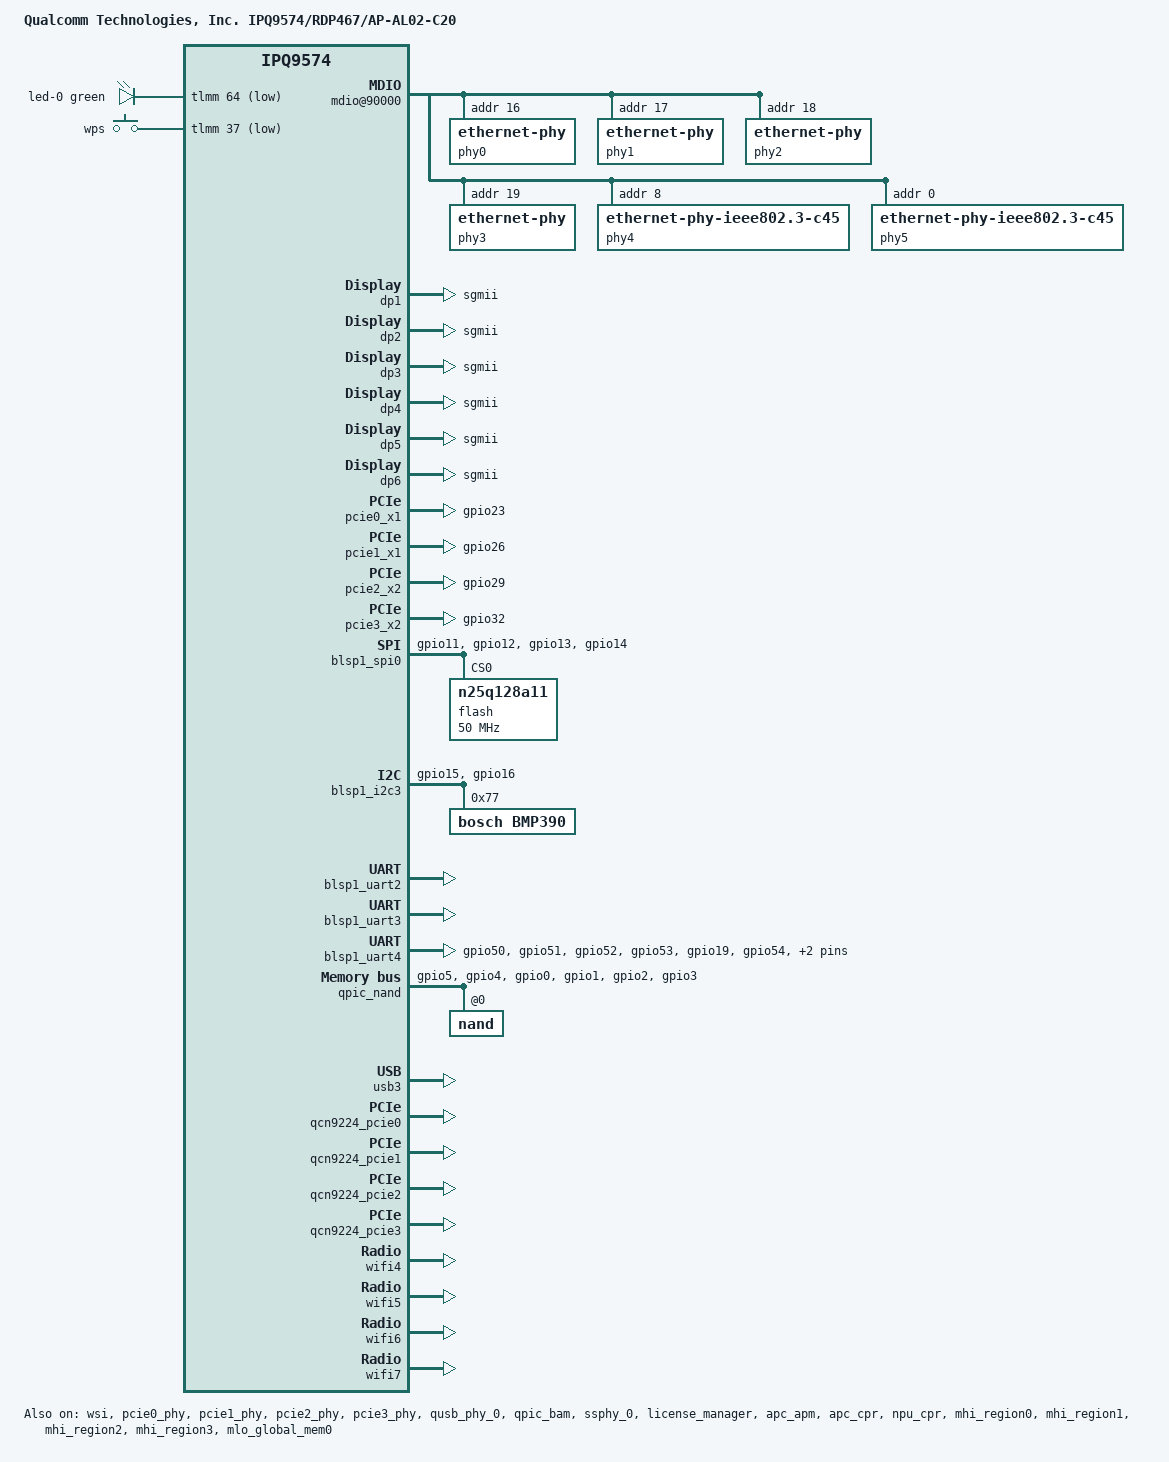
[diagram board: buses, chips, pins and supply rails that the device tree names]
// SPDX-License-Identifier: (GPL-2.0+ OR BSD-3-Clause)
/*
 * IPQ9574 RDP467 board device tree source
 *
 * Copyright (c) 2020-2021 The Linux Foundation. All rights reserved.
 * Copyright (c) 2021-2024 Qualcomm Innovation Center, Inc. All rights reserved.
 */

/dts-v1/;

#include <dt-bindings/gpio/gpio.h>
#include <dt-bindings/input/input.h>
#include <dt-bindings/leds/common.h>
#include "ipq9574-qcn9224-default-memory.dtsi"
#include "ipq9574.dtsi"

/ {
	model = "Qualcomm Technologies, Inc. IPQ9574/RDP467/AP-AL02-C20";
	compatible = "qcom,ipq9574-ap-al02-c20", "qcom,ipq9574-rdp467", "qcom,ipq9574";

	aliases {
		serial0 = &blsp1_uart2;
		serial1 = &blsp1_uart4;
		serial2 = &blsp1_uart3;
		ethernet0 = "/soc/dp1";
		ethernet1 = "/soc/dp2";
		ethernet2 = "/soc/dp3";
		ethernet3 = "/soc/dp4";
		ethernet4 = "/soc/dp5";
		ethernet5 = "/soc/dp6";
	};

	chosen {
		stdout-path = "serial0:115200n8";
	};

	soc@0 {
		mdio@90000 {
			pinctrl-0 = <&mdio_pins>;
			pinctrl-names = "default";
			/*gpio60 for malibu reset, gpio36 for both aqr reset reserved */
			phy-reset-gpio = <&tlmm 60 GPIO_ACTIVE_LOW>;
			status = "okay";

			phy0: ethernet-phy@0 {
				reg = <16>;
			};
			phy1: ethernet-phy@1 {
				reg = <17>;
			};
			phy2: ethernet-phy@2 {
				reg = <18>;
			};
			phy3: ethernet-phy@3 {
				reg = <19>;
			};
			phy4: ethernet-phy@4 {
				compatible ="ethernet-phy-ieee802.3-c45";
				reg = <8>;
			};
			phy5: ethernet-phy@5 {
				compatible ="ethernet-phy-ieee802.3-c45";
				reg = <0>;
			};
		};

		ess-instance {
			num_devices = <0x1>;
			ess-switch@3a000000 {
				switch_cpu_bmp = <0x1>;  /* cpu port bitmap */
				switch_lan_bmp = <0x3e>; /* lan port bitmap */
				switch_wan_bmp = <0x40>; /* wan port bitmap */
				switch_mac_mode = <0x0>; /* mac mode for uniphy instance0*/
				switch_mac_mode1 = <0xd>; /* mac mode for uniphy instance1*/
				switch_mac_mode2 = <0xd>; /* mac mode for uniphy instance2*/
				bm_tick_mode = <0>; /* bm tick mode */
				tm_tick_mode = <0>; /* tm tick mode */

				qcom,port_phyinfo {
					port@0 {
						port_id = <1>;
						phy_address = <16>;
					};
					port@1 {
						port_id = <2>;
						phy_address = <17>;
					};
					port@2 {
						port_id = <3>;
						phy_address = <18>;
					};
					port@3 {
						port_id = <4>;
						phy_address = <19>;
					};
					port@4 {
						port_id = <5>;
						phy_address = <8>;
						ethernet-phy-ieee802.3-c45;
					};
					port@5 {
						port_id = <6>;
						phy_address = <0>;
						ethernet-phy-ieee802.3-c45;
					};
				};
			};
		};

		dp1 {
			device_type = "network";
			compatible = "qcom,nss-dp";
			qcom,id = <1>;
			reg = <0x3a001000 0x200>;
			qcom,mactype = <0>;
			qcom,link-poll = <1>;
			local-mac-address = [000000000000];
			qcom,phy-mdio-addr = <16>;
			phy-mode = "sgmii";
		};

		dp2 {
			device_type = "network";
			compatible = "qcom,nss-dp";
			qcom,id = <2>;
			reg = <0x3a001200 0x200>;
			qcom,mactype = <0>;
			qcom,link-poll = <1>;
			local-mac-address = [000000000000];
			qcom,phy-mdio-addr = <17>;
			phy-mode = "sgmii";
		};

		dp3 {
			device_type = "network";
			compatible = "qcom,nss-dp";
			qcom,id = <3>;
			reg = <0x3a001400 0x200>;
			qcom,mactype = <0>;
			qcom,link-poll = <1>;
			local-mac-address = [000000000000];
			qcom,phy-mdio-addr = <18>;
			phy-mode = "sgmii";
		};

		dp4 {
			device_type = "network";
			compatible = "qcom,nss-dp";
			qcom,id = <4>;
			reg = <0x3a001600 0x200>;
			qcom,mactype = <0>;
			qcom,link-poll = <1>;
			local-mac-address = [000000000000];
			qcom,phy-mdio-addr = <19>;
			phy-mode = "sgmii";
		};

		dp5 {
			device_type = "network";
			compatible = "qcom,nss-dp";
			qcom,id = <5>;
			reg = <0x3a510000 0x4000>;
			qcom,mactype = <1>;
			qcom,link-poll = <1>;
			local-mac-address = [000000000000];
			qcom,phy-mdio-addr = <8>;
			phy-mode = "sgmii";
		};

		dp6 {
			device_type = "network";
			compatible = "qcom,nss-dp";
			qcom,id = <6>;
			reg = <0x3a514000 0x4000>;
			qcom,mactype = <1>;
			qcom,link-poll = <1>;
			local-mac-address = [000000000000];
			qcom,phy-mdio-addr = <0>;
			phy-mode = "sgmii";
		};

		/* EDMA host driver configuration for the board */
		edma@3ab00000 {
			qcom,txdesc-ring-start = <4>;		/* Tx desc ring start ID */
			qcom,txdesc-rings = <28>;		/* Total number of Tx desc rings to be provisioned */
			qcom,txcmpl-ring-start = <4>;		/* Tx complete ring start ID */
			qcom,txcmpl-rings = <28>;		/* Total number of Tx complete rings to be provisioned */
			qcom,rxfill-ring-start = <4>;		/* Rx fill ring start ID */
			qcom,rxfill-rings = <4>;		/* Total number of Rx fill rings to be provisioned */
			qcom,rxdesc-ring-start = <20>;		/* Rx desc ring start ID */
			qcom,rxdesc-rings = <4>;		/* Total number of Rx desc rings to be provisioned */
			qcom,rx-page-mode = <0>;		/* Rx fill ring page mode */
			qcom,tx-map-priority-level = <1>;	/* Tx priority level per port */
			qcom,rx-map-priority-level = <1>;	/* Rx priority level per core */
			qcom,ppeds-num = <4>;			/* Number of PPEDS nodes */
			/* PPE-DS node format: <Rx-fill Tx-cmpl Rx Tx Queue-base Queue-count> */
			qcom,ppeds-map = <1 1 1 1 32 8>,        /* PPEDS Node#0 ring and queue map */
					<2 2 2 2 40 8>,         /* PPEDS Node#1 ring and queue map */
					<3 3 3 3 48 8>,         /* PPEDS Node#2 ring and queue map */
					<0 0 0 0 56 8>;         /* PPEDS Node#3 ring and queue map */
			qcom,txdesc-map = <8 9 10 11>,		/* Port0 per-core Tx ring map */
					<12 13 14 15>,		/* Port1 per-core Tx ring map */
					<16 17 18 19>,		/* Port2 per-core Tx ring map */
					<20 21 22 23>,		/* Port3 per-core Tx ring map */
					<24 25 26 27>,		/* Port4 per-core Tx ring map */
					<28 29 30 31>,		/* Port5 per-core Tx ring map */
					<4 5 6 7>;		/* Used only for packets from VP */
			qcom,txdesc-fc-grp-map = <1 2 3 4 5 6>;	/* Per GMAC flow control group map */
			qcom,rxfill-map = <4 5 6 7>;		/* Per-core Rx fill ring map */
			qcom,rxdesc-map = <20 21 22 23>;	/* Per-core Rx desc ring map */
			qcom,rx-queue-start = <0>;		/* Rx queue start */
			qcom,rx-ring-queue-map = <0 8 16 24>,	/* Priority 0 queues per-core Rx ring map */
					<1 9 17 25>,		/* Priority 1 queues per-core Rx ring map */
					<2 10 18 26>,		/* Priority 2 queues per-core Rx ring map */
					<3 11 19 27>,		/* Priority 3 queues per-core Rx ring map */
					<4 12 20 28>,		/* Priority 4 queues per-core Rx ring map */
					<5 13 21 29>,		/* Priority 5 queues per-core Rx ring map */
					<6 14 22 30>,		/* Priority 6 queues per-core Rx ring map */
					<7 15 23 31>;		/* Priority 7 queues per-core Rx ring map */
			qcom,vp-id = <8>;			/* Virtual port dummy MAC Id */
			qcom,txdesc_point_offload_ring = <0>;		/* Txdesc point offlaod ring */
			qcom,txcmpl_point_offload_ring = <0>;		/* Txcmpl point offlaod ring */
			qcom,rxfill_point_offload_ring = <0>;		/* Rxfill point offlaod ring */
			qcom,rxdesc_point_offload_ring = <0>;		/* Rxdesc point offlaod ring */
			interrupts = <0 367 4>,			/* Tx complete ring id #4 IRQ info */
				   <0 368 4>,			/* Tx complete ring id #5 IRQ info */
				   <0 369 4>,			/* Tx complete ring id #6 IRQ info */
				   <0 370 4>,			/* Tx complete ring id #7 IRQ info */
				   <0 371 4>,			/* Tx complete ring id #8 IRQ info */
				   <0 372 4>,			/* Tx complete ring id #9 IRQ info */
				   <0 373 4>,			/* Tx complete ring id #10 IRQ info */
				   <0 374 4>,			/* Tx complete ring id #11 IRQ info */
				   <0 375 4>,			/* Tx complete ring id #12 IRQ info */
				   <0 376 4>,			/* Tx complete ring id #13 IRQ info */
				   <0 377 4>,			/* Tx complete ring id #14 IRQ info */
				   <0 378 4>,			/* Tx complete ring id #15 IRQ info */
				   <0 379 4>,			/* Tx complete ring id #16 IRQ info */
				   <0 380 4>,			/* Tx complete ring id #17 IRQ info */
				   <0 381 4>,			/* Tx complete ring id #18 IRQ info */
				   <0 382 4>,			/* Tx complete ring id #19 IRQ info */
				   <0 383 4>,			/* Tx complete ring id #20 IRQ info */
				   <0 384 4>,			/* Tx complete ring id #21 IRQ info */
				   <0 509 4>,			/* Tx complete ring id #22 IRQ info */
				   <0 508 4>,			/* Tx complete ring id #23 IRQ info */
				   <0 507 4>,			/* Tx complete ring id #24 IRQ info */
				   <0 506 4>,			/* Tx complete ring id #25 IRQ info */
				   <0 505 4>,			/* Tx complete ring id #26 IRQ info */
				   <0 504 4>,			/* Tx complete ring id #27 IRQ info */
				   <0 503 4>,			/* Tx complete ring id #28 IRQ info */
				   <0 502 4>,			/* Tx complete ring id #29 IRQ info */
				   <0 501 4>,			/* Tx complete ring id #30 IRQ info */
				   <0 500 4>,			/* Tx complete ring id #31 IRQ info */
				   <0 351 4>,			/* Rx desc ring id #20 IRQ info */
				   <0 352 4>,			/* Rx desc ring id #21 IRQ info */
				   <0 353 4>,			/* Rx desc ring id #22 IRQ info */
				   <0 354 4>,			/* Rx desc ring id #23 IRQ info */
				   <0 499 4>,			/* Misc error IRQ info */
				   <0 364 4>,			/* PPEDS Node #0(TxComp ring id #1) TxComplete IRQ info */
				   <0 332 4>,			/* PPEDS Node #0(Rx Desc ring id #1) Rx Desc IRQ info */
				   <0 356 4>,			/* PPEDS Node #0(RxFill Desc ring id #1) Rx Fill IRQ info */
				   <0 365 4>,			/* PPEDS Node #1(TxComp ring id #2) TxComplete IRQ info */
				   <0 333 4>,			/* PPEDS Node #1(Rx Desc ring id #2) Rx Desc IRQ info */
				   <0 357 4>,			/* PPEDS Node #1(RxFill Desc ring id #2) Rx Fill IRQ info */
				   <0 366 4>,			/* PPEDS Node #2(TxComp ring id #3) TxComplete IRQ info */
				   <0 334 4>,			/* PPEDS Node #2(Rx Desc ring id #3) Rx Desc IRQ info */
				   <0 358 4>,			/* PPEDS Node #2(RxFill Desc ring id #3) Rx Fill IRQ info */
				   <0 363 4>,			/* PPEDS Node #3(TxComp ring id #0) TxComplete IRQ info */
				   <0 331 4>,			/* PPEDS Node #3(Rx Desc ring id #0) Rx Desc IRQ info */
				   <0 355 4>;			/* PPEDS Node #3(RxFill Desc ring id #0) Rx Fill IRQ info */
		};

		leds {
			compatible = "gpio-leds";
			pinctrl-0 = <&gpio_leds_default>;
			pinctrl-names = "default";

			led-0 {
				color = <LED_COLOR_ID_GREEN>;
				function = LED_FUNCTION_WLAN;
				gpios = <&tlmm 64 GPIO_ACTIVE_LOW>;
				linux,default-trigger = "phy0tx";
				default-state = "off";
			};
		};

		gpio_keys {
			compatible = "gpio-keys";
			pinctrl-0 = <&button_pins>;
			pinctrl-names = "default";
			status = "okay";

			button@1 {
				label = "wps";
				linux,code = <KEY_WPS_BUTTON>;
				gpios = <&tlmm 37 GPIO_ACTIVE_LOW>;
				linux,input-type = <1>;
				debounce-interval = <60>;
			};
		};
	};
};

&wsi {
        id = <0>;
        num_chip = <4>;
	status = "okay";
        chip_info = <0 2 1 3>,
		    <1 2 0 2>,
		    <2 2 3 1>,
		    <3 2 2 0>;
};

&pcie0_x1 {
	pinctrl-0 = <&pci0_pin>;
	pinctrl-names = "default";
	perst-gpio = <&tlmm 23 GPIO_ACTIVE_LOW>;
	status = "okay";

	pcie0_rp {
		reg = <0 0 0 0 0>;

		wifi@0 {
			reg = <0 0 0 0 0>;
			boot-args = <0x2 0x4 0x34 0x3 0x0 0x0     /* MX Rail, GPIO52, Drive strength 0x3 */
					0x4 0x4 0x18 0x3 0x0 0x0  /* RFA1p2 Rail, GPIO24, Drive strength 0x3 */
					0x0 0x4 0x0 0x0 0x0 0x0>; /* End of arguments */
			memory-region = <&qcn9224_pcie0>, <&mhi_region0>;
			qcom,wsi = <&wsi>;
			qcom,wsi_index = <0>;
			qcom,board_id = <0x01>;
			qcom,pta-num = <0>;
			qcom,coex-mode = <0x2>;
			qcom,bt-active-time = <0x18>;
			qcom,bt-priority-time = <0x12>;
			qcom,coex-algo = <0x2>;
			qcom,pta-priority = <0x80800505>;
			qcom,msi = <0x10>;
			status = "okay";
		};
	};
};

&pcie0_phy {
	status = "okay";
};

&pcie1_x1 {
	pinctrl-0 = <&pci1_pin>;
	pinctrl-names = "default";
	perst-gpio = <&tlmm 26 GPIO_ACTIVE_LOW>;
	status = "okay";

	pcie1_rp {
		reg = <0 0 0 0 0>;

		wifi@1 {
			reg = <0 0 0 0 0>;
			boot-args = <0x2 0x4 0x34 0x3 0x0 0x0     /* MX Rail, GPIO52, Drive strength 0x3 */
					0x4 0x4 0x18 0x3 0x0 0x0  /* RFA1p2 Rail, GPIO24, Drive strength 0x3 */
					0x0 0x4 0x0 0x0 0x0 0x0>; /* End of arguments */
			memory-region = <&qcn9224_pcie1>, <&mhi_region1>;
			qcom,board_id = <0x11>;
			qcom,wsi = <&wsi>;
			qcom,wsi_index = <3>;
			qcom,msi = <0x10>;
		};
	};
};

&pcie1_phy {
	status = "okay";
};

&pcie2_x2 {
	pinctrl-0 = <&pci2_pin>;
	pinctrl-names = "default";
	perst-gpio = <&tlmm 29 GPIO_ACTIVE_LOW>;
	status = "okay";

	pcie2_rp {
		reg = <0 0 0 0 0>;

		wifi@2 {
			reg = <0 0 0 0 0>;
			boot-args = <0x2 0x4 0x34 0x3 0x0 0x0     /* MX Rail, GPIO52, Drive strength 0x3 */
					0x4 0x4 0x18 0x3 0x0 0x0  /* RFA1p2 Rail, GPIO24, Drive strength 0x3 */
					0x0 0x4 0x0 0x0 0x0 0x0>; /* End of arguments */
			memory-region = <&qcn9224_pcie2>, <&mhi_region2>;
			qcom,board_id = <0x04>;
			qcom,wsi = <&wsi>;
			qcom,wsi_index = <2>;
		};
	};
};

&pcie2_phy {
	status = "okay";
};

&pcie3_x2 {
	pinctrl-0 = <&pci3_pin>;
	pinctrl-names = "default";
	perst-gpio = <&tlmm 32 GPIO_ACTIVE_LOW>;
	status = "okay";

	pcie3_rp {
		reg = <0 0 0 0 0>;

		wifi@3 {
			reg = <0 0 0 0 0>;
			boot-args = <0x2 0x4 0x34 0x3 0x0 0x0     /* MX Rail, GPIO52, Drive strength 0x3 */
					0x4 0x4 0x18 0x3 0x0 0x0  /* RFA1p2 Rail, GPIO24, Drive strength 0x3 */
					0x0 0x4 0x0 0x0 0x0 0x0>; /* End of arguments */
			memory-region = <&qcn9224_pcie3>, <&mhi_region3>;
			qcom,board_id = <0x12>;
			qcom,wsi = <&wsi>;
			qcom,wsi_index = <1>;
		};
	};
};

&pcie3_phy {
	status = "okay";
};

&qusb_phy_0 {
	status = "okay";
};

&blsp1_spi0 { /* BLSP1 QUP0 */
	pinctrl-0 = <&spi_0_pins>;
	pinctrl-names = "default";
	cs-select = <0>;
	status = "okay";

	flash@0 {
		compatible = "n25q128a11", "micron,n25q128a11", "jedec,spi-nor";
		reg = <0>;
		#address-cells = <1>;
		#size-cells = <1>;
		spi-max-frequency = <50000000>;
	};
};

&blsp1_i2c3 {
	pinctrl-0 = <&i2c_3_pins>;
	pinctrl-names = "default";
	status = "okay";

	bmp390@77 {
		compatible = "bosch,bmp390";
		reg = <0x77>;
	};
};

&blsp1_uart2 {
	pinctrl-0 = <&uart2_pins>;
	pinctrl-names = "default";
	status = "okay";
};

&blsp1_uart3 {
	pinctrl-0 = <&gps_pins>;
	pinctrl-names = "default";
	status = "okay";
};

&blsp1_uart4 {
	pinctrl-0 = <&QCC710_pins &pta_QCC710>;
	pinctrl-names = "default";
	status = "okay";
};

&qpic_bam {
	status = "okay";
};

&qpic_nand {
	pinctrl-0 = <&qspi_nand_pins>;
	pinctrl-names = "default";
	qcom,io_macro_max_clk = <320000000>;
	qcom,io_macro_clk_rates = <24000000 100000000 200000000 \
				   320000000>;
	status = "okay";

	nand@0 {
		reg = <0>;
		#address-cells = <1>;
		#size-cells = <1>;
		nand-ecc-strength = <4>;
		nand-ecc-step-size = <512>;
		nand-bus-width = <8>;
	};
};

&sleep_clk {
	clock-frequency = <32000>;
};

&ssphy_0 {
	status = "okay";
};

&rpm_requests {
	regulators {
		compatible = "qcom,rpm-mp5496-regulators";

		ipq9574_s1: s1 {
		 /*
		 * During kernel bootup, the SoC runs at 800MHz with 875mV set by the bootloaders.
		 * During regulator registration, kernel not knowing the initial voltage,
		 * considers it as zero and brings up the regulators with minimum supported voltage.
		 * Updating the regulator-min-microvolt with SVS voltage of 725000uV so that
		 * the regulators are brought up with 725000uV which is sufficient for all the
		 * corner parts to operate at 800MHz
		 */
			regulator-min-microvolt = <587500>;
			regulator-max-microvolt = <1075000>;
		};
		ipq9574_s2: s2 {
			regulator-min-microvolt = <700000>;
			regulator-max-microvolt = <1000000>;
		};
	};
};

&tlmm {
	pci0_pin: pci0-default-state {
		pins = "gpio23";
		function = "gpio";
		drive-strength = <8>;
		bias-pull-up;
		output-low;
	};

	pci1_pin: pci1-default-state {
		pins = "gpio26";
		function = "gpio";
		drive-strength = <8>;
		bias-pull-down;
		output-low;
	};

	pci2_pin: pci2-default-state {
		pins = "gpio29";
		function = "gpio";
		drive-strength = <8>;
		bias-pull-down;
		output-low;
	};

	pci3_pin: pci3-default-state {
		pins = "gpio32";
		function = "gpio";
		drive-strength = <8>;
		bias-pull-up;
		output-low;
	};

	i2c_3_pins: i2c-3-pins {
		pins = "gpio15", "gpio16";
		function = "blsp3_i2c";
		drive-strength = <8>;
		bias-disable;
	};

	gpio_leds_default: gpio-leds-default-state {
		pins = "gpio64";
		function = "gpio";
		drive-strength = <8>;
		bias-pull-up;
	};

	button_pins: button-state {
		pins = "gpio37";
		function = "gpio";
		drive-strength = <8>;
		bias-pull-up;
	};

	QCC710_pins: QCC710_pins {
		uart4_pins: uart4-pins {
			pins = "gpio50", "gpio51", "gpio52", "gpio53";
			function = "blsp4_uart";
			drive-strength = <8>;
			bias-disable;
		};
		QCC710_reset {
			pins = "gpio19";
			function = "gpio";
			drive-strength = <8>;
			bias-pull-down;
		};
	};

	pta_QCC710: pta_QCC710 {
		pins = "gpio54", "gpio55", "gpio56";
		function = "pta";
		drive-strength = <8>;
		bias-disable;
	};

	spi_0_pins: spi-0-pins {
		pins = "gpio11", "gpio12", "gpio13", "gpio14";
		function = "blsp0_spi";
		drive-strength = <8>;
		bias-disable;
	};

	qspi_nand_pins: qspi_nand_pins {
		qspi_clock {
			pins = "gpio5";
			function = "qspi_clk";
			drive-strength = <8>;
			bias-disable;
		};

		qspi_cs {
			pins = "gpio4";
			function = "qspi_cs";
			drive-strength = <8>;
			bias-disable;
		};

		qspi_data {
			pins = "gpio0", "gpio1", "gpio2", "gpio3";
			function = "qspi_data";
			drive-strength = <8>;
			bias-disable;
		};
	};
};

&usb3 {
	status = "okay";
};

&xo {
	clock-frequency = <24000000>;
};

&CPU0 {
	cpu-supply = <&apc_vreg>;
};

&CPU1 {
	cpu-supply = <&apc_vreg>;
};

&CPU2 {
	cpu-supply = <&apc_vreg>;
};

&CPU3 {
	cpu-supply = <&apc_vreg>;
};

&license_manager {
	status = "okay";
};

&apc_apm {
	status = "okay";
};

&apc_cpr {
	vdd-supply = <&ipq9574_s1>;
	status = "okay";
};

&npu_cpr {
	vdd-supply = <&ipq9574_s2>;
	status = "okay";
};

/* Enable the reserved memory regions of QCN9224 on PCIe0, PCIe1, PCIe2, PCIe3 */

&mhi_region0 {
	status = "okay";
};

&qcn9224_pcie0 {
	status = "okay";
};

&qcn9224_pcie1 {
	status = "okay";
};

&mhi_region1 {
	status = "okay";
};

&qcn9224_pcie2 {
	status = "okay";
};

&mhi_region2 {
	status = "okay";
};

&qcn9224_pcie3 {
	status = "okay";
};

&mhi_region3 {
	status = "okay";
};

/* MLO GLOBAL MEM REGION size is 24MB for RDP with 4 QCN9224 radios */
&mlo_global_mem0 {
	size = <0x0 0x1800000>;
	status = "okay";
};

&wifi0 {
	led-gpio = <&tlmm 64 1>;
	status = "disabled";
};

&wifi4 {
	hremote_node = <&qcn9224_pcie0>;
	board_id = <0x01>;
	interrupt-bmap = <0x080512>;
	status = "okay";
};

&wifi5 {
	hremote_node = <&qcn9224_pcie1>;
	board_id = <0x011>;
	interrupt-bmap = <0x080512>;
	status = "okay";
};

&wifi6 {
	hremote_node = <&qcn9224_pcie2>;
	board_id = <0x04>;
	interrupt-bmap = <0x080512>;
	status = "okay";
};

&wifi7 {
	hremote_node = <&qcn9224_pcie3>;
	board_id = <0x12>;
	interrupt-bmap = <0x080512>;
	status = "okay";
};

